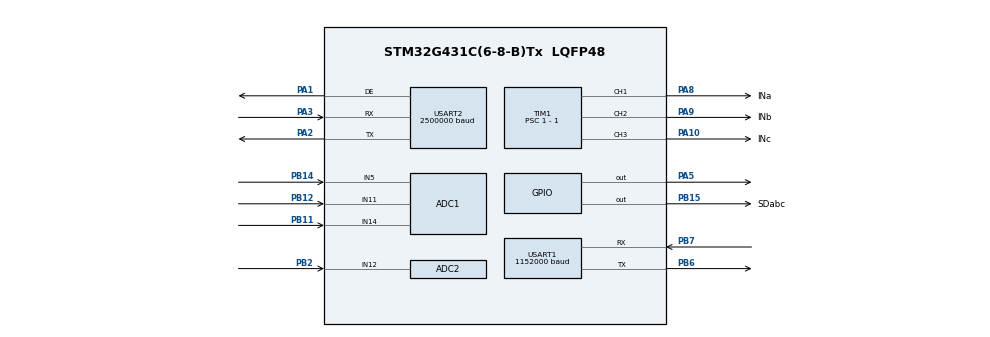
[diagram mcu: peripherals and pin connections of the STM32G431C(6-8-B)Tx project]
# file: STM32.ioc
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ADC1.Channel-3\#ChannelRegularConversion=ADC_CHANNEL_11
ADC1.Channel-6\#ChannelRegularConversion=ADC_CHANNEL_14
ADC1.Channel-7\#ChannelRegularConversion=ADC_CHANNEL_5
ADC1.DMAContinuousRequests=ENABLE
ADC1.DiscontinuousConvMode=DISABLE
ADC1.EOCSelection=ADC_EOC_SEQ_CONV
ADC1.ExternalTrigConv=ADC_EXTERNALTRIG_T1_TRGO
ADC1.NbrOfConversion=3
ADC1.NbrOfConversionFlag=1
ADC1.OffsetNumber-3\#ChannelRegularConversion=ADC_OFFSET_NONE
ADC1.OffsetNumber-6\#ChannelRegularConversion=ADC_OFFSET_NONE
ADC1.OffsetNumber-7\#ChannelRegularConversion=ADC_OFFSET_NONE
ADC1.Rank-3\#ChannelRegularConversion=1
ADC1.Rank-6\#ChannelRegularConversion=2
ADC1.Rank-7\#ChannelRegularConversion=3
ADC1.SamplingTime-3\#ChannelRegularConversion=ADC_SAMPLETIME_6CYCLES_5
ADC1.SamplingTime-6\#ChannelRegularConversion=ADC_SAMPLETIME_6CYCLES_5
ADC1.SamplingTime-7\#ChannelRegularConversion=ADC_SAMPLETIME_6CYCLES_5
ADC1.master=1
ADC2.Channel-1\#ChannelRegularConversion=ADC_CHANNEL_12
ADC2.DMAContinuousRequests=ENABLE
ADC2.DiscontinuousConvMode=DISABLE
ADC2.EOCSelection=ADC_EOC_SINGLE_CONV
ADC2.ExternalTrigConv=ADC_EXTERNALTRIG_T1_TRGO
ADC2.NbrOfConversion=1
ADC2.NbrOfConversionFlag=1
ADC2.OffsetNumber-1\#ChannelRegularConversion=ADC_OFFSET_NONE
ADC2.Rank-1\#ChannelRegularConversion=1
ADC2.SamplingTime-1\#ChannelRegularConversion=ADC_SAMPLETIME_2CYCLES_5
Dma.ADC1.0.Direction=DMA_PERIPH_TO_MEMORY
Dma.ADC1.0.EventEnable=DISABLE
Dma.ADC1.0.Instance=DMA1_Channel1
Dma.ADC1.0.MemDataAlignment=DMA_MDATAALIGN_HALFWORD
Dma.ADC1.0.MemInc=DMA_MINC_ENABLE
Dma.ADC1.0.Mode=DMA_CIRCULAR
Dma.ADC1.0.PeriphDataAlignment=DMA_PDATAALIGN_HALFWORD
Dma.ADC1.0.PeriphInc=DMA_PINC_DISABLE
Dma.ADC1.0.Polarity=HAL_DMAMUX_REQ_GEN_RISING
Dma.ADC1.0.Priority=DMA_PRIORITY_LOW
Dma.ADC1.0.RequestNumber=1
Dma.ADC1.0.SignalID=NONE
Dma.ADC1.0.SyncEnable=DISABLE
Dma.ADC1.0.SyncPolarity=HAL_DMAMUX_SYNC_NO_EVENT
Dma.ADC1.0.SyncRequestNumber=1
Dma.ADC1.0.SyncSignalID=NONE
Dma.ADC2.1.Direction=DMA_PERIPH_TO_MEMORY
Dma.ADC2.1.EventEnable=DISABLE
Dma.ADC2.1.Instance=DMA1_Channel2
Dma.ADC2.1.MemDataAlignment=DMA_MDATAALIGN_HALFWORD
Dma.ADC2.1.MemInc=DMA_MINC_ENABLE
Dma.ADC2.1.Mode=DMA_CIRCULAR
Dma.ADC2.1.PeriphDataAlignment=DMA_PDATAALIGN_HALFWORD
Dma.ADC2.1.PeriphInc=DMA_PINC_DISABLE
Dma.ADC2.1.Polarity=HAL_DMAMUX_REQ_GEN_RISING
Dma.ADC2.1.Priority=DMA_PRIORITY_LOW
Dma.ADC2.1.RequestNumber=1
Dma.ADC2.1.SignalID=NONE
Dma.ADC2.1.SyncEnable=DISABLE
Dma.ADC2.1.SyncPolarity=HAL_DMAMUX_SYNC_NO_EVENT
Dma.ADC2.1.SyncRequestNumber=1
Dma.ADC2.1.SyncSignalID=NONE
Dma.Request0=ADC1
Dma.Request1=ADC2
Dma.Request2=USART1_TX
Dma.USART1_TX.2.Direction=DMA_MEMORY_TO_PERIPH
Dma.USART1_TX.2.EventEnable=DISABLE
Dma.USART1_TX.2.Instance=DMA1_Channel3
Dma.USART1_TX.2.MemDataAlignment=DMA_MDATAALIGN_BYTE
Dma.USART1_TX.2.MemInc=DMA_MINC_ENABLE
Dma.USART1_TX.2.Mode=DMA_CIRCULAR
Dma.USART1_TX.2.PeriphDataAlignment=DMA_PDATAALIGN_BYTE
Dma.USART1_TX.2.PeriphInc=DMA_PINC_DISABLE
Dma.USART1_TX.2.Polarity=HAL_DMAMUX_REQ_GEN_RISING
Dma.USART1_TX.2.Priority=DMA_PRIORITY_LOW
Dma.USART1_TX.2.RequestNumber=1
Dma.USART1_TX.2.SignalID=NONE
Dma.USART1_TX.2.SyncEnable=DISABLE
Dma.USART1_TX.2.SyncPolarity=HAL_DMAMUX_SYNC_NO_EVENT
Dma.USART1_TX.2.SyncRequestNumber=1
Dma.USART1_TX.2.SyncSignalID=NONE
Mcu.Family=STM32G4
Mcu.Name=STM32G431C(6-8-B)Tx
Mcu.Package=LQFP48
NVIC.DMA1_Channel1_IRQn=true\:1\:0\:true\:false\:true\:false\:true\:true
NVIC.DMA1_Channel2_IRQn=true\:1\:0\:true\:false\:true\:false\:true\:true
NVIC.DMA1_Channel3_IRQn=true\:1\:0\:true\:false\:true\:false\:true\:true
NVIC.PriorityGroup=NVIC_PRIORITYGROUP_3
NVIC.TIM1_UP_TIM16_IRQn=true\:2\:0\:true\:false\:true\:true\:true\:true
NVIC.USART1_IRQn=true\:0\:0\:false\:false\:true\:true\:true\:true
NVIC.USART2_IRQn=true\:0\:0\:false\:false\:true\:true\:true\:true
PA1.Mode=Hardware Flow Control (RS485)
PA1.Signal=USART2_DE
PA10.GPIO_Label=INc
PA10.Signal=S_TIM1_CH3
PA13.Mode=Serial_Wire
PA13.Signal=SYS_JTMS-SWDIO
PA14.Mode=Serial_Wire
PA14.Signal=SYS_JTCK-SWCLK
PA2.Mode=Asynchronous
PA2.Signal=USART2_TX
PA3.Mode=Asynchronous
PA3.Signal=USART2_RX
PA5.GPIO_Speed=GPIO_SPEED_FREQ_VERY_HIGH
PA5.Signal=GPIO_Output
PA8.GPIO_Label=INa
PA8.Signal=S_TIM1_CH1
PA9.GPIO_Label=INb
PA9.Signal=S_TIM1_CH2
PB11.Mode=IN14-Single-Ended
PB11.Signal=ADC1_IN14
PB12.Mode=IN11-Single-Ended
PB12.Signal=ADC1_IN11
PB14.Mode=IN5-Single-Ended
PB14.Signal=ADC1_IN5
PB15.GPIO_Label=SDabc
PB15.GPIO_PuPd=GPIO_PULLDOWN
PB15.Signal=GPIO_Output
PB2.Mode=IN12-Single-Ended
PB2.Signal=ADC2_IN12
PB6.Mode=Asynchronous
PB6.Signal=USART1_TX
PB7.Mode=Asynchronous
PB7.Signal=USART1_RX
PF0-OSC_IN.Mode=HSE-External-Oscillator
PF0-OSC_IN.Signal=RCC_OSC_IN
PF1-OSC_OUT.Mode=HSE-External-Oscillator
PF1-OSC_OUT.Signal=RCC_OSC_OUT
ProjectManager.HeapSize=0x200
ProjectManager.StackSize=0x400
ProjectManager.TargetToolchain=MDK-ARM V5.32
RCC.ADC12Freq_Value=170000000
RCC.AHBFreq_Value=170000000
RCC.APB1Freq_Value=170000000
RCC.APB1TimFreq_Value=170000000
RCC.APB2Freq_Value=170000000
RCC.APB2TimFreq_Value=170000000
RCC.CortexFreq_Value=170000000
RCC.EXTERNAL_CLOCK_VALUE=12288000
RCC.HCLKFreq_Value=170000000
RCC.HSE_VALUE=24000000
RCC.HSI48_VALUE=48000000
RCC.HSI_VALUE=16000000
RCC.LSE_VALUE=32768
RCC.PLLM=RCC_PLLM_DIV6
RCC.PLLN=85
RCC.PLLSourceVirtual=RCC_PLLSOURCE_HSE
RCC.SYSCLKFreq_VALUE=170000000
RCC.SYSCLKSource=RCC_SYSCLKSOURCE_PLLCLK
RCC.USBFreq_Value=170000000
RCC.VCOOutputFreq_Value=340000000
SH.S_TIM1_CH1.0=TIM1_CH1,PWM Generation1 CH1
SH.S_TIM1_CH2.0=TIM1_CH2,PWM Generation2 CH2
SH.S_TIM1_CH3.0=TIM1_CH3,PWM Generation3 CH3
TIM1.AutoReloadPreload=TIM_AUTORELOAD_PRELOAD_ENABLE
TIM1.Channel-PWM\ Generation1\ CH1=TIM_CHANNEL_1
TIM1.Channel-PWM\ Generation2\ CH2=TIM_CHANNEL_2
TIM1.Channel-PWM\ Generation3\ CH3=TIM_CHANNEL_3
TIM1.CounterMode=TIM_COUNTERMODE_CENTERALIGNED1
TIM1.PeriodNoDither=Timer_PERIOD - 1
TIM1.Prescaler=1 - 1
TIM1.PulseNoDither_1=PWM_phA_Init
TIM1.PulseNoDither_2=PWM_phB_Init
TIM1.PulseNoDither_3=PWM_phC_Init
TIM1.RepetitionCounter=1
TIM1.TIM_MasterOutputTrigger=TIM_TRGO_UPDATE
TIM1.TIM_MasterSlaveMode=TIM_MASTERSLAVEMODE_DISABLE
USART1.BaudRate=1152000
USART1.VirtualMode-Asynchronous=VM_ASYNC
USART2.BaudRate=2500000
USART2.VirtualMode-Asynchronous=VM_ASYNC
USART2.VirtualMode-Hardware\ Flow\ Control\ (RS485)=VM_ASYNC
VP_CORDIC_VS_CORDIC.Mode=CORDIC_Activate
VP_SYS_VS_DBSignals.Mode=DisableDeadBatterySignals
VP_TIM1_VS_ClockSourceINT.Mode=Internal
board=custom

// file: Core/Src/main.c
/* USER CODE BEGIN Header */
/**
  ******************************************************************************
  * @file           : main.c
  * @brief          : Main program body
  ******************************************************************************
  * @attention
  *
  * Copyright (c) 2022 STMicroelectronics.
  * All rights reserved.
  *
  * This software is licensed under terms that can be found in the LICENSE file
  * in the root directory of this software component.
  * If no LICENSE file comes with this software, it is provided AS-IS.
  *
  ******************************************************************************
  */
/* USER CODE END Header */
#include "main.h"

/* USER CODE BEGIN Includes */
#include "VOFA.h"
#include "Sensorless.h"
/* USER CODE END Includes */

/* USER CODE BEGIN PV */
const MotorParameter_str MotorParameter = {.Np = 5,
                                           .J = 0.0000033f,
                                           .Rs = 0.75f,//0.375 0.1875
                                           .Ld = 0.00085f,
                                           .Lq = 0.00105f,
                                           .Kt = 0.11f,
                                           .Flux = 0.014667f};

Frame_union DataUpToPc = {.FrameData.tail = {0x00, 0x00, 0x80, 0x7f}};
MotorRealTimeInformation_str MRT_Inf = {.Sector = 1};
SensorData_str SensorData = {0};
uint16_t ADC1_Buffer[3] = {0};
uint16_t ADC2_Buffer = {0};
uint8_t UART2_Buffer[6] = {0};
PI_str D_PI  = {0};
PI_str Q_PI  = {0};
PI_str Spd_PI  = {0};
ControlCommand_str CtrlCom = {0};
SlidingModeObserver_str SMO = {0};
HighFrequencyInjection_str HFI = {0};
/* USER CODE END PV */

void SystemClock_Config(void);
static void MX_GPIO_Init(void);
static void MX_TIM1_Init(void);
static void MX_USART2_UART_Init(void);
static void MX_DMA_Init(void);
static void MX_ADC2_Init(void);
static void MX_ADC1_Init(void);
static void MX_USART1_UART_Init(void);
static void MX_CORDIC_Init(void);
/* USER CODE BEGIN PFP */
static void DMA_Config(void);
static void ADC1_Config(void);
static void ADC2_Config(void);
static void TIM1_Config(void);
static void TIM2_Config(void);
static void TIM3_Config(void);
static void USART1_Config(void);
static void USART2_Config(void);
static void MotorParameter_Init(void);
/* USER CODE END PFP */

int main(void)
{

  /* MCU Configuration--------------------------------------------------------*/

  /* Reset of all peripherals, Initializes the Flash interface and the Systick. */
  LL_APB2_GRP1_EnableClock(LL_APB2_GRP1_PERIPH_SYSCFG);
  LL_APB1_GRP1_EnableClock(LL_APB1_GRP1_PERIPH_PWR);

  /* System interrupt init*/
  NVIC_SetPriorityGrouping(NVIC_PRIORITYGROUP_3);

  /** Disable the internal Pull-Up in Dead Battery pins of UCPD peripheral
  */
  LL_PWR_DisableUCPDDeadBattery();

  /* USER CODE BEGIN Init */
    MotorParameter_Init();
  /* USER CODE END Init */

  /* Configure the system clock */
  SystemClock_Config();

  /* Initialize all configured peripherals */
  MX_GPIO_Init();
  MX_TIM1_Init();
  MX_USART2_UART_Init();
  MX_DMA_Init();
  MX_ADC2_Init();
  MX_ADC1_Init();
  MX_USART1_UART_Init();
  MX_CORDIC_Init();
  /* USER CODE BEGIN 2 */
  DMA_Config();
  ADC1_Config();
  ADC2_Config();
  TIM1_Config();
  TIM2_Config();
  TIM3_Config();
  USART1_Config();
  USART2_Config();

    LL_CORDIC_Config(CORDIC,
                    LL_CORDIC_FUNCTION_COSINE,   /* cosine function */
                    LL_CORDIC_PRECISION_6CYCLES, /* max precision for q1.31 cosine */
                    LL_CORDIC_SCALE_0,         /* no scale */
                    LL_CORDIC_NBWRITE_1,         /* One input data: angle. Second input data (modulus) is 1 after cordic reset */
                    LL_CORDIC_NBREAD_2,          /* Two output data: cosine, then sine */
                    LL_CORDIC_INSIZE_32BITS,     /* q1.31 format for input data */
                    LL_CORDIC_OUTSIZE_32BITS);

  LL_GPIO_SetOutputPin(SDabc_GPIO_Port, SDabc_Pin);
  /* USER CODE END 2 */

  /* Infinite loop */
  while (1)
  {

    /* USER CODE BEGIN 3 */

//      SendJustFloat(&DataUpToPc);
  }
  /* USER CODE END 3 */
}

void SystemClock_Config(void)
{
  LL_FLASH_SetLatency(LL_FLASH_LATENCY_4);
  while(LL_FLASH_GetLatency() != LL_FLASH_LATENCY_4)
  {
  }
  LL_PWR_EnableRange1BoostMode();
  LL_RCC_HSE_Enable();
   /* Wait till HSE is ready */
  while(LL_RCC_HSE_IsReady() != 1)
  {
  }

  LL_RCC_PLL_ConfigDomain_SYS(LL_RCC_PLLSOURCE_HSE, LL_RCC_PLLM_DIV_6, 85, LL_RCC_PLLR_DIV_2);
  LL_RCC_PLL_EnableDomain_SYS();
  LL_RCC_PLL_Enable();
   /* Wait till PLL is ready */
  while(LL_RCC_PLL_IsReady() != 1)
  {
  }

  LL_RCC_SetSysClkSource(LL_RCC_SYS_CLKSOURCE_PLL);
  LL_RCC_SetAHBPrescaler(LL_RCC_SYSCLK_DIV_2);
   /* Wait till System clock is ready */
  while(LL_RCC_GetSysClkSource() != LL_RCC_SYS_CLKSOURCE_STATUS_PLL)
  {
  }

  /* Insure 1?s transition state at intermediate medium speed clock based on DWT */
  CoreDebug->DEMCR |= CoreDebug_DEMCR_TRCENA_Msk;
  DWT->CTRL |= DWT_CTRL_CYCCNTENA_Msk;
  DWT->CYCCNT = 0;
  while(DWT->CYCCNT < 100);
  /* Set AHB prescaler*/
  LL_RCC_SetAHBPrescaler(LL_RCC_SYSCLK_DIV_1);
  LL_RCC_SetAPB1Prescaler(LL_RCC_APB1_DIV_1);
  LL_RCC_SetAPB2Prescaler(LL_RCC_APB2_DIV_1);

  LL_Init1msTick(170000000);

  LL_SetSystemCoreClock(170000000);
}

static void MX_ADC1_Init(void)
{

  LL_ADC_InitTypeDef ADC_InitStruct = {0};
  LL_ADC_REG_InitTypeDef ADC_REG_InitStruct = {0};
  LL_ADC_CommonInitTypeDef ADC_CommonInitStruct = {0};

  LL_GPIO_InitTypeDef GPIO_InitStruct = {0};

  LL_RCC_SetADCClockSource(LL_RCC_ADC12_CLKSOURCE_SYSCLK);

  /* Peripheral clock enable */
  LL_AHB2_GRP1_EnableClock(LL_AHB2_GRP1_PERIPH_ADC12);

  LL_AHB2_GRP1_EnableClock(LL_AHB2_GRP1_PERIPH_GPIOB);
  /**ADC1 GPIO Configuration
  PB11   ------> ADC1_IN14
  PB12   ------> ADC1_IN11
  PB14   ------> ADC1_IN5
  */
  GPIO_InitStruct.Pin = LL_GPIO_PIN_11;
  GPIO_InitStruct.Mode = LL_GPIO_MODE_ANALOG;
  GPIO_InitStruct.Pull = LL_GPIO_PULL_NO;
  LL_GPIO_Init(GPIOB, &GPIO_InitStruct);

  GPIO_InitStruct.Pin = LL_GPIO_PIN_12;
  GPIO_InitStruct.Mode = LL_GPIO_MODE_ANALOG;
  GPIO_InitStruct.Pull = LL_GPIO_PULL_NO;
  LL_GPIO_Init(GPIOB, &GPIO_InitStruct);

  GPIO_InitStruct.Pin = LL_GPIO_PIN_14;
  GPIO_InitStruct.Mode = LL_GPIO_MODE_ANALOG;
  GPIO_InitStruct.Pull = LL_GPIO_PULL_NO;
  LL_GPIO_Init(GPIOB, &GPIO_InitStruct);

  /* ADC1 DMA Init */

  /* ADC1 Init */
  LL_DMA_SetPeriphRequest(DMA1, LL_DMA_CHANNEL_1, LL_DMAMUX_REQ_ADC1);

  LL_DMA_SetDataTransferDirection(DMA1, LL_DMA_CHANNEL_1, LL_DMA_DIRECTION_PERIPH_TO_MEMORY);

  LL_DMA_SetChannelPriorityLevel(DMA1, LL_DMA_CHANNEL_1, LL_DMA_PRIORITY_LOW);

  LL_DMA_SetMode(DMA1, LL_DMA_CHANNEL_1, LL_DMA_MODE_CIRCULAR);

  LL_DMA_SetPeriphIncMode(DMA1, LL_DMA_CHANNEL_1, LL_DMA_PERIPH_NOINCREMENT);

  LL_DMA_SetMemoryIncMode(DMA1, LL_DMA_CHANNEL_1, LL_DMA_MEMORY_INCREMENT);

  LL_DMA_SetPeriphSize(DMA1, LL_DMA_CHANNEL_1, LL_DMA_PDATAALIGN_HALFWORD);

  LL_DMA_SetMemorySize(DMA1, LL_DMA_CHANNEL_1, LL_DMA_MDATAALIGN_HALFWORD);

  /** Common config
  */
  ADC_InitStruct.Resolution = LL_ADC_RESOLUTION_12B;
  ADC_InitStruct.DataAlignment = LL_ADC_DATA_ALIGN_RIGHT;
  ADC_InitStruct.LowPowerMode = LL_ADC_LP_MODE_NONE;
  LL_ADC_Init(ADC1, &ADC_InitStruct);
  ADC_REG_InitStruct.TriggerSource = LL_ADC_REG_TRIG_EXT_TIM1_TRGO;
  ADC_REG_InitStruct.SequencerLength = LL_ADC_REG_SEQ_SCAN_ENABLE_3RANKS;
  ADC_REG_InitStruct.SequencerDiscont = LL_ADC_REG_SEQ_DISCONT_DISABLE;
  ADC_REG_InitStruct.ContinuousMode = LL_ADC_REG_CONV_SINGLE;
  ADC_REG_InitStruct.DMATransfer = LL_ADC_REG_DMA_TRANSFER_UNLIMITED;
  ADC_REG_InitStruct.Overrun = LL_ADC_REG_OVR_DATA_PRESERVED;
  LL_ADC_REG_Init(ADC1, &ADC_REG_InitStruct);
  LL_ADC_SetGainCompensation(ADC1, 0);
  LL_ADC_SetOverSamplingScope(ADC1, LL_ADC_OVS_DISABLE);
  ADC_CommonInitStruct.CommonClock = LL_ADC_CLOCK_SYNC_PCLK_DIV4;
  ADC_CommonInitStruct.Multimode = LL_ADC_MULTI_INDEPENDENT;
  LL_ADC_CommonInit(__LL_ADC_COMMON_INSTANCE(ADC1), &ADC_CommonInitStruct);
  LL_ADC_REG_SetTriggerEdge(ADC1, LL_ADC_REG_TRIG_EXT_RISING);

  /* Disable ADC deep power down (enabled by default after reset state) */
  LL_ADC_DisableDeepPowerDown(ADC1);
  /* Enable ADC internal voltage regulator */
  LL_ADC_EnableInternalRegulator(ADC1);
  /* Delay for ADC internal voltage regulator stabilization. */
  /* Compute number of CPU cycles to wait for, from delay in us. */
  /* Note: Variable divided by 2 to compensate partially */
  /* CPU processing cycles (depends on compilation optimization). */
  /* Note: If system core clock frequency is below 200kHz, wait time */
  /* is only a few CPU processing cycles. */
  uint32_t wait_loop_index;
  wait_loop_index = ((LL_ADC_DELAY_INTERNAL_REGUL_STAB_US * (SystemCoreClock / (100000 * 2))) / 10);
  while(wait_loop_index != 0)
  {
    wait_loop_index--;
  }

  /** Configure Regular Channel
  */
  LL_ADC_REG_SetSequencerRanks(ADC1, LL_ADC_REG_RANK_1, LL_ADC_CHANNEL_11);
  LL_ADC_SetChannelSamplingTime(ADC1, LL_ADC_CHANNEL_11, LL_ADC_SAMPLINGTIME_6CYCLES_5);
  LL_ADC_SetChannelSingleDiff(ADC1, LL_ADC_CHANNEL_11, LL_ADC_SINGLE_ENDED);

  /** Configure Regular Channel
  */
  LL_ADC_REG_SetSequencerRanks(ADC1, LL_ADC_REG_RANK_2, LL_ADC_CHANNEL_14);
  LL_ADC_SetChannelSamplingTime(ADC1, LL_ADC_CHANNEL_14, LL_ADC_SAMPLINGTIME_6CYCLES_5);
  LL_ADC_SetChannelSingleDiff(ADC1, LL_ADC_CHANNEL_14, LL_ADC_SINGLE_ENDED);

  /** Configure Regular Channel
  */
  LL_ADC_REG_SetSequencerRanks(ADC1, LL_ADC_REG_RANK_3, LL_ADC_CHANNEL_5);
  LL_ADC_SetChannelSamplingTime(ADC1, LL_ADC_CHANNEL_5, LL_ADC_SAMPLINGTIME_6CYCLES_5);
  LL_ADC_SetChannelSingleDiff(ADC1, LL_ADC_CHANNEL_5, LL_ADC_SINGLE_ENDED);

}

static void MX_ADC2_Init(void)
{

  LL_ADC_InitTypeDef ADC_InitStruct = {0};
  LL_ADC_REG_InitTypeDef ADC_REG_InitStruct = {0};

  LL_GPIO_InitTypeDef GPIO_InitStruct = {0};

  LL_RCC_SetADCClockSource(LL_RCC_ADC12_CLKSOURCE_SYSCLK);

  /* Peripheral clock enable */
  LL_AHB2_GRP1_EnableClock(LL_AHB2_GRP1_PERIPH_ADC12);

  LL_AHB2_GRP1_EnableClock(LL_AHB2_GRP1_PERIPH_GPIOB);
  /**ADC2 GPIO Configuration
  PB2   ------> ADC2_IN12
  */
  GPIO_InitStruct.Pin = LL_GPIO_PIN_2;
  GPIO_InitStruct.Mode = LL_GPIO_MODE_ANALOG;
  GPIO_InitStruct.Pull = LL_GPIO_PULL_NO;
  LL_GPIO_Init(GPIOB, &GPIO_InitStruct);

  /* ADC2 DMA Init */

  /* ADC2 Init */
  LL_DMA_SetPeriphRequest(DMA1, LL_DMA_CHANNEL_2, LL_DMAMUX_REQ_ADC2);

  LL_DMA_SetDataTransferDirection(DMA1, LL_DMA_CHANNEL_2, LL_DMA_DIRECTION_PERIPH_TO_MEMORY);

  LL_DMA_SetChannelPriorityLevel(DMA1, LL_DMA_CHANNEL_2, LL_DMA_PRIORITY_LOW);

  LL_DMA_SetMode(DMA1, LL_DMA_CHANNEL_2, LL_DMA_MODE_CIRCULAR);

  LL_DMA_SetPeriphIncMode(DMA1, LL_DMA_CHANNEL_2, LL_DMA_PERIPH_NOINCREMENT);

  LL_DMA_SetMemoryIncMode(DMA1, LL_DMA_CHANNEL_2, LL_DMA_MEMORY_INCREMENT);

  LL_DMA_SetPeriphSize(DMA1, LL_DMA_CHANNEL_2, LL_DMA_PDATAALIGN_HALFWORD);

  LL_DMA_SetMemorySize(DMA1, LL_DMA_CHANNEL_2, LL_DMA_MDATAALIGN_HALFWORD);

  /** Common config
  */
  ADC_InitStruct.Resolution = LL_ADC_RESOLUTION_12B;
  ADC_InitStruct.DataAlignment = LL_ADC_DATA_ALIGN_RIGHT;
  ADC_InitStruct.LowPowerMode = LL_ADC_LP_MODE_NONE;
  LL_ADC_Init(ADC2, &ADC_InitStruct);
  ADC_REG_InitStruct.TriggerSource = LL_ADC_REG_TRIG_EXT_TIM1_TRGO;
  ADC_REG_InitStruct.SequencerLength = LL_ADC_REG_SEQ_SCAN_DISABLE;
  ADC_REG_InitStruct.SequencerDiscont = LL_ADC_REG_SEQ_DISCONT_DISABLE;
  ADC_REG_InitStruct.ContinuousMode = LL_ADC_REG_CONV_SINGLE;
  ADC_REG_InitStruct.DMATransfer = LL_ADC_REG_DMA_TRANSFER_UNLIMITED;
  ADC_REG_InitStruct.Overrun = LL_ADC_REG_OVR_DATA_PRESERVED;
  LL_ADC_REG_Init(ADC2, &ADC_REG_InitStruct);
  LL_ADC_SetGainCompensation(ADC2, 0);
  LL_ADC_SetOverSamplingScope(ADC2, LL_ADC_OVS_DISABLE);
  LL_ADC_REG_SetTriggerEdge(ADC2, LL_ADC_REG_TRIG_EXT_RISING);

  /* Disable ADC deep power down (enabled by default after reset state) */
  LL_ADC_DisableDeepPowerDown(ADC2);
  /* Enable ADC internal voltage regulator */
  LL_ADC_EnableInternalRegulator(ADC2);
  /* Delay for ADC internal voltage regulator stabilization. */
  /* Compute number of CPU cycles to wait for, from delay in us. */
  /* Note: Variable divided by 2 to compensate partially */
  /* CPU processing cycles (depends on compilation optimization). */
  /* Note: If system core clock frequency is below 200kHz, wait time */
  /* is only a few CPU processing cycles. */
  uint32_t wait_loop_index;
  wait_loop_index = ((LL_ADC_DELAY_INTERNAL_REGUL_STAB_US * (SystemCoreClock / (100000 * 2))) / 10);
  while(wait_loop_index != 0)
  {
    wait_loop_index--;
  }

  /** Configure Regular Channel
  */
  LL_ADC_REG_SetSequencerRanks(ADC2, LL_ADC_REG_RANK_1, LL_ADC_CHANNEL_12);
  LL_ADC_SetChannelSamplingTime(ADC2, LL_ADC_CHANNEL_12, LL_ADC_SAMPLINGTIME_2CYCLES_5);
  LL_ADC_SetChannelSingleDiff(ADC2, LL_ADC_CHANNEL_12, LL_ADC_SINGLE_ENDED);

}

static void MX_CORDIC_Init(void)
{

  /* Peripheral clock enable */
  LL_AHB1_GRP1_EnableClock(LL_AHB1_GRP1_PERIPH_CORDIC);

  /* nothing else to be configured */

}

static void MX_TIM1_Init(void)
{

  LL_TIM_InitTypeDef TIM_InitStruct = {0};
  LL_TIM_OC_InitTypeDef TIM_OC_InitStruct = {0};
  LL_TIM_BDTR_InitTypeDef TIM_BDTRInitStruct = {0};

  LL_GPIO_InitTypeDef GPIO_InitStruct = {0};

  /* Peripheral clock enable */
  LL_APB2_GRP1_EnableClock(LL_APB2_GRP1_PERIPH_TIM1);

  /* TIM1 interrupt Init */
  NVIC_SetPriority(TIM1_UP_TIM16_IRQn, NVIC_EncodePriority(NVIC_GetPriorityGrouping(),2, 0));
  NVIC_EnableIRQ(TIM1_UP_TIM16_IRQn);

  TIM_InitStruct.Prescaler = 1 - 1;
  TIM_InitStruct.CounterMode = LL_TIM_COUNTERMODE_CENTER_UP;
  TIM_InitStruct.Autoreload = Timer_PERIOD - 1;
  TIM_InitStruct.ClockDivision = LL_TIM_CLOCKDIVISION_DIV1;
  TIM_InitStruct.RepetitionCounter = 1;
  LL_TIM_Init(TIM1, &TIM_InitStruct);
  LL_TIM_EnableARRPreload(TIM1);
  LL_TIM_SetClockSource(TIM1, LL_TIM_CLOCKSOURCE_INTERNAL);
  LL_TIM_OC_EnablePreload(TIM1, LL_TIM_CHANNEL_CH1);
  TIM_OC_InitStruct.OCMode = LL_TIM_OCMODE_PWM1;
  TIM_OC_InitStruct.OCState = LL_TIM_OCSTATE_DISABLE;
  TIM_OC_InitStruct.OCNState = LL_TIM_OCSTATE_DISABLE;
  TIM_OC_InitStruct.CompareValue = PWM_phA_Init;
  TIM_OC_InitStruct.OCPolarity = LL_TIM_OCPOLARITY_HIGH;
  TIM_OC_InitStruct.OCNPolarity = LL_TIM_OCPOLARITY_HIGH;
  TIM_OC_InitStruct.OCIdleState = LL_TIM_OCIDLESTATE_LOW;
  TIM_OC_InitStruct.OCNIdleState = LL_TIM_OCIDLESTATE_LOW;
  LL_TIM_OC_Init(TIM1, LL_TIM_CHANNEL_CH1, &TIM_OC_InitStruct);
  LL_TIM_OC_DisableFast(TIM1, LL_TIM_CHANNEL_CH1);
  LL_TIM_OC_EnablePreload(TIM1, LL_TIM_CHANNEL_CH2);
  TIM_OC_InitStruct.CompareValue = PWM_phB_Init;
  LL_TIM_OC_Init(TIM1, LL_TIM_CHANNEL_CH2, &TIM_OC_InitStruct);
  LL_TIM_OC_DisableFast(TIM1, LL_TIM_CHANNEL_CH2);
  LL_TIM_OC_EnablePreload(TIM1, LL_TIM_CHANNEL_CH3);
  TIM_OC_InitStruct.CompareValue = PWM_phC_Init;
  LL_TIM_OC_Init(TIM1, LL_TIM_CHANNEL_CH3, &TIM_OC_InitStruct);
  LL_TIM_OC_DisableFast(TIM1, LL_TIM_CHANNEL_CH3);
  LL_TIM_SetTriggerOutput(TIM1, LL_TIM_TRGO_UPDATE);
  LL_TIM_SetTriggerOutput2(TIM1, LL_TIM_TRGO2_RESET);
  LL_TIM_DisableMasterSlaveMode(TIM1);
  TIM_BDTRInitStruct.OSSRState = LL_TIM_OSSR_DISABLE;
  TIM_BDTRInitStruct.OSSIState = LL_TIM_OSSI_DISABLE;
  TIM_BDTRInitStruct.LockLevel = LL_TIM_LOCKLEVEL_OFF;
  TIM_BDTRInitStruct.DeadTime = 0;
  TIM_BDTRInitStruct.BreakState = LL_TIM_BREAK_DISABLE;
  TIM_BDTRInitStruct.BreakPolarity = LL_TIM_BREAK_POLARITY_HIGH;
  TIM_BDTRInitStruct.BreakFilter = LL_TIM_BREAK_FILTER_FDIV1;
  TIM_BDTRInitStruct.BreakAFMode = LL_TIM_BREAK_AFMODE_INPUT;
  TIM_BDTRInitStruct.Break2State = LL_TIM_BREAK2_DISABLE;
  TIM_BDTRInitStruct.Break2Polarity = LL_TIM_BREAK2_POLARITY_HIGH;
  TIM_BDTRInitStruct.Break2Filter = LL_TIM_BREAK2_FILTER_FDIV1;
  TIM_BDTRInitStruct.Break2AFMode = LL_TIM_BREAK_AFMODE_INPUT;
  TIM_BDTRInitStruct.AutomaticOutput = LL_TIM_AUTOMATICOUTPUT_DISABLE;
  LL_TIM_BDTR_Init(TIM1, &TIM_BDTRInitStruct);
  LL_AHB2_GRP1_EnableClock(LL_AHB2_GRP1_PERIPH_GPIOA);
  /**TIM1 GPIO Configuration
  PA8   ------> TIM1_CH1
  PA9   ------> TIM1_CH2
  PA10   ------> TIM1_CH3
  */
  GPIO_InitStruct.Pin = INa_Pin;
  GPIO_InitStruct.Mode = LL_GPIO_MODE_ALTERNATE;
  GPIO_InitStruct.Speed = LL_GPIO_SPEED_FREQ_LOW;
  GPIO_InitStruct.OutputType = LL_GPIO_OUTPUT_PUSHPULL;
  GPIO_InitStruct.Pull = LL_GPIO_PULL_NO;
  GPIO_InitStruct.Alternate = LL_GPIO_AF_6;
  LL_GPIO_Init(INa_GPIO_Port, &GPIO_InitStruct);

  GPIO_InitStruct.Pin = INb_Pin;
  GPIO_InitStruct.Mode = LL_GPIO_MODE_ALTERNATE;
  GPIO_InitStruct.Speed = LL_GPIO_SPEED_FREQ_LOW;
  GPIO_InitStruct.OutputType = LL_GPIO_OUTPUT_PUSHPULL;
  GPIO_InitStruct.Pull = LL_GPIO_PULL_NO;
  GPIO_InitStruct.Alternate = LL_GPIO_AF_6;
  LL_GPIO_Init(INb_GPIO_Port, &GPIO_InitStruct);

  GPIO_InitStruct.Pin = INc_Pin;
  GPIO_InitStruct.Mode = LL_GPIO_MODE_ALTERNATE;
  GPIO_InitStruct.Speed = LL_GPIO_SPEED_FREQ_LOW;
  GPIO_InitStruct.OutputType = LL_GPIO_OUTPUT_PUSHPULL;
  GPIO_InitStruct.Pull = LL_GPIO_PULL_NO;
  GPIO_InitStruct.Alternate = LL_GPIO_AF_6;
  LL_GPIO_Init(INc_GPIO_Port, &GPIO_InitStruct);

}

static void MX_USART1_UART_Init(void)
{

  LL_USART_InitTypeDef USART_InitStruct = {0};

  LL_GPIO_InitTypeDef GPIO_InitStruct = {0};

  LL_RCC_SetUSARTClockSource(LL_RCC_USART1_CLKSOURCE_PCLK2);

  /* Peripheral clock enable */
  LL_APB2_GRP1_EnableClock(LL_APB2_GRP1_PERIPH_USART1);

  LL_AHB2_GRP1_EnableClock(LL_AHB2_GRP1_PERIPH_GPIOB);
  /**USART1 GPIO Configuration
  PB6   ------> USART1_TX
  PB7   ------> USART1_RX
  */
  GPIO_InitStruct.Pin = LL_GPIO_PIN_6;
  GPIO_InitStruct.Mode = LL_GPIO_MODE_ALTERNATE;
  GPIO_InitStruct.Speed = LL_GPIO_SPEED_FREQ_LOW;
  GPIO_InitStruct.OutputType = LL_GPIO_OUTPUT_PUSHPULL;
  GPIO_InitStruct.Pull = LL_GPIO_PULL_NO;
  GPIO_InitStruct.Alternate = LL_GPIO_AF_7;
  LL_GPIO_Init(GPIOB, &GPIO_InitStruct);

  GPIO_InitStruct.Pin = LL_GPIO_PIN_7;
  GPIO_InitStruct.Mode = LL_GPIO_MODE_ALTERNATE;
  GPIO_InitStruct.Speed = LL_GPIO_SPEED_FREQ_LOW;
  GPIO_InitStruct.OutputType = LL_GPIO_OUTPUT_PUSHPULL;
  GPIO_InitStruct.Pull = LL_GPIO_PULL_NO;
  GPIO_InitStruct.Alternate = LL_GPIO_AF_7;
  LL_GPIO_Init(GPIOB, &GPIO_InitStruct);

  /* USART1 DMA Init */

  /* USART1_TX Init */
  LL_DMA_SetPeriphRequest(DMA1, LL_DMA_CHANNEL_3, LL_DMAMUX_REQ_USART1_TX);

  LL_DMA_SetDataTransferDirection(DMA1, LL_DMA_CHANNEL_3, LL_DMA_DIRECTION_MEMORY_TO_PERIPH);

  LL_DMA_SetChannelPriorityLevel(DMA1, LL_DMA_CHANNEL_3, LL_DMA_PRIORITY_LOW);

  LL_DMA_SetMode(DMA1, LL_DMA_CHANNEL_3, LL_DMA_MODE_CIRCULAR);

  LL_DMA_SetPeriphIncMode(DMA1, LL_DMA_CHANNEL_3, LL_DMA_PERIPH_NOINCREMENT);

  LL_DMA_SetMemoryIncMode(DMA1, LL_DMA_CHANNEL_3, LL_DMA_MEMORY_INCREMENT);

  LL_DMA_SetPeriphSize(DMA1, LL_DMA_CHANNEL_3, LL_DMA_PDATAALIGN_BYTE);

  LL_DMA_SetMemorySize(DMA1, LL_DMA_CHANNEL_3, LL_DMA_MDATAALIGN_BYTE);

  /* USART1 interrupt Init */
  NVIC_SetPriority(USART1_IRQn, NVIC_EncodePriority(NVIC_GetPriorityGrouping(),0, 0));
  NVIC_EnableIRQ(USART1_IRQn);

  USART_InitStruct.PrescalerValue = LL_USART_PRESCALER_DIV1;
  USART_InitStruct.BaudRate = 1152000;// 1152000
  USART_InitStruct.DataWidth = LL_USART_DATAWIDTH_8B;
  USART_InitStruct.StopBits = LL_USART_STOPBITS_1;
  USART_InitStruct.Parity = LL_USART_PARITY_NONE;
  USART_InitStruct.TransferDirection = LL_USART_DIRECTION_TX_RX;
  USART_InitStruct.HardwareFlowControl = LL_USART_HWCONTROL_NONE;
  USART_InitStruct.OverSampling = LL_USART_OVERSAMPLING_16;
  LL_USART_Init(USART1, &USART_InitStruct);
  LL_USART_SetTXFIFOThreshold(USART1, LL_USART_FIFOTHRESHOLD_1_8);
  LL_USART_SetRXFIFOThreshold(USART1, LL_USART_FIFOTHRESHOLD_1_8);
  LL_USART_DisableFIFO(USART1);
  LL_USART_ConfigAsyncMode(USART1);

  LL_USART_Enable(USART1);

  /* Polling USART1 initialisation */
  while((!(LL_USART_IsActiveFlag_TEACK(USART1))) || (!(LL_USART_IsActiveFlag_REACK(USART1))))
  {
  }

}

static void MX_USART2_UART_Init(void)
{

  LL_USART_InitTypeDef USART_InitStruct = {0};

  LL_GPIO_InitTypeDef GPIO_InitStruct = {0};

  LL_RCC_SetUSARTClockSource(LL_RCC_USART2_CLKSOURCE_PCLK1);

  /* Peripheral clock enable */
  LL_APB1_GRP1_EnableClock(LL_APB1_GRP1_PERIPH_USART2);

  LL_AHB2_GRP1_EnableClock(LL_AHB2_GRP1_PERIPH_GPIOA);
  /**USART2 GPIO Configuration
  PA1   ------> USART2_DE
  PA2   ------> USART2_TX
  PA3   ------> USART2_RX
  */
  GPIO_InitStruct.Pin = LL_GPIO_PIN_1;
  GPIO_InitStruct.Mode = LL_GPIO_MODE_ALTERNATE;
  GPIO_InitStruct.Speed = LL_GPIO_SPEED_FREQ_LOW;
  GPIO_InitStruct.OutputType = LL_GPIO_OUTPUT_PUSHPULL;
  GPIO_InitStruct.Pull = LL_GPIO_PULL_NO;
  GPIO_InitStruct.Alternate = LL_GPIO_AF_7;
  LL_GPIO_Init(GPIOA, &GPIO_InitStruct);

  GPIO_InitStruct.Pin = LL_GPIO_PIN_2;
  GPIO_InitStruct.Mode = LL_GPIO_MODE_ALTERNATE;
  GPIO_InitStruct.Speed = LL_GPIO_SPEED_FREQ_LOW;
  GPIO_InitStruct.OutputType = LL_GPIO_OUTPUT_PUSHPULL;
  GPIO_InitStruct.Pull = LL_GPIO_PULL_NO;
  GPIO_InitStruct.Alternate = LL_GPIO_AF_7;
  LL_GPIO_Init(GPIOA, &GPIO_InitStruct);

  GPIO_InitStruct.Pin = LL_GPIO_PIN_3;
  GPIO_InitStruct.Mode = LL_GPIO_MODE_ALTERNATE;
  GPIO_InitStruct.Speed = LL_GPIO_SPEED_FREQ_LOW;
  GPIO_InitStruct.OutputType = LL_GPIO_OUTPUT_PUSHPULL;
  GPIO_InitStruct.Pull = LL_GPIO_PULL_NO;
  GPIO_InitStruct.Alternate = LL_GPIO_AF_7;
  LL_GPIO_Init(GPIOA, &GPIO_InitStruct);

  /* USART2 interrupt Init */
  NVIC_SetPriority(USART2_IRQn, NVIC_EncodePriority(NVIC_GetPriorityGrouping(),0, 0));
  NVIC_EnableIRQ(USART2_IRQn);

  USART_InitStruct.PrescalerValue = LL_USART_PRESCALER_DIV1;
  USART_InitStruct.BaudRate = 2500000;
  USART_InitStruct.DataWidth = LL_USART_DATAWIDTH_8B;
  USART_InitStruct.StopBits = LL_USART_STOPBITS_1;
  USART_InitStruct.Parity = LL_USART_PARITY_NONE;
  USART_InitStruct.TransferDirection = LL_USART_DIRECTION_TX_RX;
  USART_InitStruct.HardwareFlowControl = LL_USART_HWCONTROL_NONE;
  USART_InitStruct.OverSampling = LL_USART_OVERSAMPLING_16;
  LL_USART_Init(USART2, &USART_InitStruct);
  LL_USART_SetTXFIFOThreshold(USART2, LL_USART_FIFOTHRESHOLD_1_8);
  LL_USART_SetRXFIFOThreshold(USART2, LL_USART_FIFOTHRESHOLD_1_8);
  LL_USART_EnableDEMode(USART2);
  LL_USART_SetDESignalPolarity(USART2, LL_USART_DE_POLARITY_HIGH);
  LL_USART_SetDEAssertionTime(USART2, 0);
  LL_USART_SetDEDeassertionTime(USART2, 0);
  LL_USART_DisableFIFO(USART2);
  LL_USART_ConfigAsyncMode(USART2);

  LL_USART_Enable(USART2);

  /* Polling USART2 initialisation */
  while((!(LL_USART_IsActiveFlag_TEACK(USART2))) || (!(LL_USART_IsActiveFlag_REACK(USART2))))
  {
  }

}

static void MX_DMA_Init(void)
{

  /* Init with LL driver */
  /* DMA controller clock enable */
  LL_AHB1_GRP1_EnableClock(LL_AHB1_GRP1_PERIPH_DMAMUX1);
  LL_AHB1_GRP1_EnableClock(LL_AHB1_GRP1_PERIPH_DMA1);

  /* DMA interrupt init */
  /* DMA1_Channel1_IRQn interrupt configuration */
  NVIC_SetPriority(DMA1_Channel1_IRQn, NVIC_EncodePriority(NVIC_GetPriorityGrouping(),1, 0));
  NVIC_EnableIRQ(DMA1_Channel1_IRQn);
  /* DMA1_Channel2_IRQn interrupt configuration */
  NVIC_SetPriority(DMA1_Channel2_IRQn, NVIC_EncodePriority(NVIC_GetPriorityGrouping(),1, 0));
  NVIC_EnableIRQ(DMA1_Channel2_IRQn);
  /* DMA1_Channel3_IRQn interrupt configuration */
  NVIC_SetPriority(DMA1_Channel3_IRQn, NVIC_EncodePriority(NVIC_GetPriorityGrouping(),1, 0));
  NVIC_EnableIRQ(DMA1_Channel3_IRQn);

}

static void MX_GPIO_Init(void)
{
  LL_GPIO_InitTypeDef GPIO_InitStruct = {0};

  /* GPIO Ports Clock Enable */
  LL_AHB2_GRP1_EnableClock(LL_AHB2_GRP1_PERIPH_GPIOF);
  LL_AHB2_GRP1_EnableClock(LL_AHB2_GRP1_PERIPH_GPIOA);
  LL_AHB2_GRP1_EnableClock(LL_AHB2_GRP1_PERIPH_GPIOB);

  /**/
  LL_GPIO_ResetOutputPin(GPIOA, LL_GPIO_PIN_5);

  /**/
  LL_GPIO_ResetOutputPin(SDabc_GPIO_Port, SDabc_Pin);

  /**/
  GPIO_InitStruct.Pin = LL_GPIO_PIN_5;
  GPIO_InitStruct.Mode = LL_GPIO_MODE_OUTPUT;
  GPIO_InitStruct.Speed = LL_GPIO_SPEED_FREQ_VERY_HIGH;
  GPIO_InitStruct.OutputType = LL_GPIO_OUTPUT_PUSHPULL;
  GPIO_InitStruct.Pull = LL_GPIO_PULL_NO;
  LL_GPIO_Init(GPIOA, &GPIO_InitStruct);

  /**/
  GPIO_InitStruct.Pin = SDabc_Pin;
  GPIO_InitStruct.Mode = LL_GPIO_MODE_OUTPUT;
  GPIO_InitStruct.Speed = LL_GPIO_SPEED_FREQ_LOW;
  GPIO_InitStruct.OutputType = LL_GPIO_OUTPUT_PUSHPULL;
  GPIO_InitStruct.Pull = LL_GPIO_PULL_DOWN;
  LL_GPIO_Init(SDabc_GPIO_Port, &GPIO_InitStruct);

}

/* USER CODE BEGIN 4 */
void DMA_Config(void){
    LL_DMA_ConfigAddresses(DMA1, LL_DMA_CHANNEL_1,
                           LL_ADC_DMA_GetRegAddr(ADC1, LL_ADC_DMA_REG_REGULAR_DATA_MULTI),
                           (uint32_t)&(ADC1_Buffer),
                           LL_DMA_DIRECTION_PERIPH_TO_MEMORY);
    LL_DMA_SetDataLength(DMA1, LL_DMA_CHANNEL_1, 3);
    LL_DMA_EnableIT_TC(DMA1, LL_DMA_CHANNEL_1);
    LL_DMA_EnableChannel(DMA1, LL_DMA_CHANNEL_1);

    LL_DMA_ConfigAddresses(DMA1, LL_DMA_CHANNEL_2,
                           LL_ADC_DMA_GetRegAddr(ADC2, LL_ADC_DMA_REG_REGULAR_DATA),
                           (uint32_t)&(ADC2_Buffer),
                           LL_DMA_DIRECTION_PERIPH_TO_MEMORY);
    LL_DMA_SetDataLength(DMA1, LL_DMA_CHANNEL_2, 1);
    LL_DMA_EnableIT_TC(DMA1, LL_DMA_CHANNEL_2);
    LL_DMA_EnableChannel(DMA1, LL_DMA_CHANNEL_2);

    LL_DMA_ConfigAddresses(DMA1, LL_DMA_CHANNEL_3,
                           (uint32_t)&(DataUpToPc.UartSendData),
                           LL_USART_DMA_GetRegAddr(USART1, LL_USART_DMA_REG_DATA_TRANSMIT),
                           LL_DMA_DIRECTION_MEMORY_TO_PERIPH);
    LL_DMA_SetDataLength(DMA1, LL_DMA_CHANNEL_3, sizeof(DataUpToPc.UartSendData));
    LL_DMA_EnableIT_TC(DMA1, LL_DMA_CHANNEL_3);
}

void ADC1_Config(void){
    LL_ADC_StartCalibration(ADC1, LL_ADC_SINGLE_ENDED);
    while (LL_ADC_IsCalibrationOnGoing(ADC1) != 0);
    LL_ADC_ClearFlag_ADRDY(ADC1);
    LL_ADC_Enable(ADC1);
    while (LL_ADC_IsActiveFlag_ADRDY(ADC1) == 0);

    LL_ADC_REG_StartConversion(ADC1);
    LL_ADC_REG_SetDMATransfer(ADC1, LL_ADC_REG_DMA_TRANSFER_UNLIMITED);
}

void ADC2_Config(void){
    LL_ADC_StartCalibration(ADC2, LL_ADC_SINGLE_ENDED);
    while (LL_ADC_IsCalibrationOnGoing(ADC2) != 0);
    LL_ADC_ClearFlag_ADRDY(ADC2);
    LL_ADC_Enable(ADC2);
    while (LL_ADC_IsActiveFlag_ADRDY(ADC2) == 0);

    LL_ADC_REG_StartConversion(ADC2);
    LL_ADC_REG_SetDMATransfer(ADC2, LL_ADC_REG_DMA_TRANSFER_UNLIMITED);
}

void TIM1_Config(void){
    LL_TIM_CC_EnableChannel(TIM1, LL_TIM_CHANNEL_CH1);
    LL_TIM_CC_EnableChannel(TIM1, LL_TIM_CHANNEL_CH2);
    LL_TIM_CC_EnableChannel(TIM1, LL_TIM_CHANNEL_CH3);
    LL_TIM_EnableAllOutputs(TIM1);
    LL_TIM_EnableIT_UPDATE(TIM1);
    LL_TIM_EnableCounter(TIM1);
}

void TIM2_Config(void){
    LL_TIM_EnableIT_UPDATE(TIM2);
    LL_TIM_EnableCounter(TIM2);
}

void TIM3_Config(void){
    LL_TIM_EnableIT_UPDATE(TIM3);
    LL_TIM_EnableCounter(TIM3);
}

void USART1_Config(void){
    LL_USART_EnableDMAReq_TX(USART1);
    LL_USART_ClearFlag_ORE(USART1);
    LL_USART_EnableIT_RXNE(USART1);
}

void USART2_Config(void){
    LL_USART_ClearFlag_ORE(USART2);
    LL_USART_EnableIT_RXNE(USART2);
}

void MotorParameter_Init(void){
    CtrlCom.CurFs = 20000;
    CtrlCom.SpdFs = 2000;
    CtrlCom.CurTs = 1.0f / CtrlCom.CurFs;
    CtrlCom.SpdTs = 1.0f / CtrlCom.SpdFs;

    CtrlCom.Mode = VolLoop;
    CtrlCom.Status_Flag = START;
    HFI.Start_Status = IH_INIT;

    CtrlCom.wc_Current = 2.0f * PI * CtrlCom.CurFs / 11;

    D_PI.Kp = CtrlCom.wc_Current * MotorParameter.Ld;
    D_PI.Ki = CtrlCom.wc_Current * MotorParameter.Rs * CtrlCom.CurTs;

    Q_PI.Kp = CtrlCom.wc_Current * MotorParameter.Lq;
    Q_PI.Ki = CtrlCom.wc_Current * MotorParameter.Rs * CtrlCom.CurTs;

    CtrlCom.wc_Speed = CtrlCom.wc_Current / 10;

    Spd_PI.Kp = MotorParameter.J / MotorParameter.Kt * CtrlCom.wc_Speed;
    Spd_PI.Ki = Spd_PI.Kp * CtrlCom.wc_Speed / 10 * CtrlCom.CurTs;
    Spd_PI.Max = 5.0f;

    HFI.Dir = 1;
    HFI.Vh = 10;
    HFI.VPulse = 12;
    HFI.Ih_LPF_wc = 10.0f * 2 * PI;
    HFI.Pulse_Max_cnt = 2;

    HFI.PLL_zeta = 1.0f;
    HFI.PLL_wn = 250.0f * 2 * PI;
    HFI.SpdE_PI.Kp = 2 * HFI.PLL_zeta * HFI.PLL_wn;
    HFI.SpdE_PI.Ki = HFI.PLL_wn * HFI.PLL_wn * CtrlCom.CurTs;
    HFI.SpdE_PI.Max = 2 * PI * 250 * MotorParameter.Np;

    HFI.ThetaE_Err_LPF_wc = 10.0f * 2 * PI;
    HFI.Spd_LPF_wc = 50.0f * 2 * PI;

    HFI.Rec.a1 = 0.1199f;
    HFI.Rec.b1 = 2.0f;
    HFI.Rec.c1 = 0.2675f;
    HFI.Rec.d1 = 0.180f; //0.180
    HFI.Rec.d2 = -0.3753f; //0.139

    SMO.h1 = 60.0f;
    SMO.h2 = 120.0f;
    SMO.E1 = 2;
    SMO.Spd_LPF_wc = 50.0f * 2 * PI;
    SMO.Exy_LPF_wc = 500.0f * 2 * PI;

    SMO.Theta_PLL_wn = 500.0f * 2 * PI;
    SMO.Theta_PLL_zeta = 1.0f;
    SMO.SpdE_PI.Kp = 2.0f * SMO.Theta_PLL_zeta * SMO.Theta_PLL_wn;
    SMO.SpdE_PI.Ki = SMO.Theta_PLL_wn * SMO.Theta_PLL_wn * CtrlCom.CurTs;
    SMO.SpdE_PI.Max = PI * 2 * 100 * MotorParameter.Np;

    SMO.Switch_Spd = PI * 2 * 5;
    SMO.Switch_EMF = SMO.Switch_Spd * MotorParameter.Np * MotorParameter.Flux;

    HFI_angle_Rec3_Init();
}
/* USER CODE END 4 */

void Error_Handler(void)
{
  __disable_irq();
  while (1)
  {
  }
}
